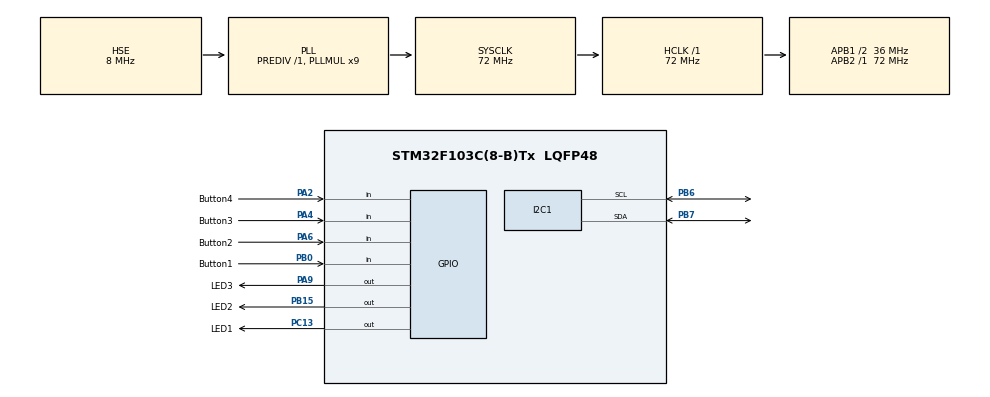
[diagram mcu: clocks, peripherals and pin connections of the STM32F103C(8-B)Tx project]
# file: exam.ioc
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Mcu.Family=STM32F1
Mcu.Name=STM32F103C(8-B)Tx
Mcu.Package=LQFP48
NVIC.PriorityGroup=NVIC_PRIORITYGROUP_4
PA13.Mode=Serial_Wire
PA13.Signal=SYS_JTMS-SWDIO
PA14.Mode=Serial_Wire
PA14.Signal=SYS_JTCK-SWCLK
PA2.GPIO_Label=Button4
PA2.GPIO_PuPd=GPIO_PULLUP
PA2.Signal=GPIO_Input
PA4.GPIO_Label=Button3
PA4.GPIO_PuPd=GPIO_PULLUP
PA4.Signal=GPIO_Input
PA6.GPIO_Label=Button2
PA6.GPIO_PuPd=GPIO_PULLUP
PA6.Signal=GPIO_Input
PA9.GPIO_Label=LED3
PA9.PinState=GPIO_PIN_SET
PA9.Signal=GPIO_Output
PB0.GPIO_Label=Button1
PB0.GPIO_PuPd=GPIO_PULLUP
PB0.Signal=GPIO_Input
PB15.GPIO_Label=LED2
PB15.PinState=GPIO_PIN_SET
PB15.Signal=GPIO_Output
PB6.Mode=I2C
PB6.Signal=I2C1_SCL
PB7.Mode=I2C
PB7.Signal=I2C1_SDA
PC13-TAMPER-RTC.GPIO_Label=LED1
PC13-TAMPER-RTC.GPIO_ModeDefaultOutputPP=GPIO_MODE_OUTPUT_PP
PC13-TAMPER-RTC.PinState=GPIO_PIN_SET
PC13-TAMPER-RTC.Signal=GPIO_Output
PC14-OSC32_IN.Mode=LSE-External-Oscillator
PC14-OSC32_IN.Signal=RCC_OSC32_IN
PC15-OSC32_OUT.Mode=LSE-External-Oscillator
PC15-OSC32_OUT.Signal=RCC_OSC32_OUT
PD0-OSC_IN.Mode=HSE-External-Oscillator
PD0-OSC_IN.Signal=RCC_OSC_IN
PD1-OSC_OUT.Mode=HSE-External-Oscillator
PD1-OSC_OUT.Signal=RCC_OSC_OUT
ProjectManager.HeapSize=0x200
ProjectManager.StackSize=0x400
ProjectManager.TargetToolchain=CMake
RCC.AHBFreq_Value=72000000
RCC.APB1CLKDivider=RCC_HCLK_DIV2
RCC.APB1Freq_Value=36000000
RCC.APB1TimFreq_Value=72000000
RCC.APB2Freq_Value=72000000
RCC.APB2TimFreq_Value=72000000
RCC.HCLKFreq_Value=72000000
RCC.PLLMUL=RCC_PLL_MUL9
RCC.PLLSourceVirtual=RCC_PLLSOURCE_HSE
RCC.SYSCLKFreq_VALUE=72000000
RCC.SYSCLKSource=RCC_SYSCLKSOURCE_PLLCLK
RCC.USBFreq_Value=72000000
board=custom

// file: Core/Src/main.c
/* USER CODE BEGIN Header */
/**
  ******************************************************************************
  * @file           : main.c
  * @brief          : Main program body
  ******************************************************************************
  * @attention
  *
  * Copyright (c) 2026 STMicroelectronics.
  * All rights reserved.
  *
  * This software is licensed under terms that can be found in the LICENSE file
  * in the root directory of this software component.
  * If no LICENSE file comes with this software, it is provided AS-IS.
  *
  ******************************************************************************
  */
/* USER CODE END Header */
#include "main.h"
#include "i2c.h"
#include "gpio.h"

/* USER CODE BEGIN Includes */
#include "OLED.h"
#include "Button.h"
#include "LED.h"
/* USER CODE END Includes */

/* USER CODE BEGIN PV */
GPIO_PinState Button1State, Button2State, Button3State, Button4State;
uint32_t Count = 0;
uint8_t LightTime = 1;
GPIO_PinState LED1State, LED2State, LED3State;
uint32_t StartTime = 0;
/* USER CODE END PV */

void SystemClock_Config(void);

int main(void)
{

  /* MCU Configuration--------------------------------------------------------*/

  /* Reset of all peripherals, Initializes the Flash interface and the Systick. */
  HAL_Init();

  /* Configure the system clock */
  SystemClock_Config();

  /* Initialize all configured peripherals */
  MX_GPIO_Init();
  MX_I2C1_Init();
  /* USER CODE BEGIN 2 */

  //初始化LED灯状态
  LED1State = GPIO_PIN_SET;
  LED2State = GPIO_PIN_SET;
  LED3State = GPIO_PIN_SET;

  OLED_Init();
  OLED_Clear();

  OLED_ShowString(0, 0, "LED1:", 16, 0);
  OLED_ShowString(0, 2, "LED2:", 16, 0);
  OLED_ShowString(0, 4, "LED3:", 16, 0);
  OLED_ShowString(0, 6, "Time:", 16, 0);
  OLED_ShowString(48, 6, "s", 16, 0);

  /* USER CODE END 2 */

  /* Infinite loop */
  /* USER CODE BEGIN WHILE */
  while (1)
  {
    //读取按键状态
    Button1State = Read_Button(Button1_GPIO_Port, Button1_Pin);
    Button2State = Read_Button(Button2_GPIO_Port, Button2_Pin);
    Button3State = Read_Button(Button3_GPIO_Port, Button3_Pin);
    Button4State = Read_Button(Button4_GPIO_Port, Button4_Pin);

    //根据按键状态控制LED灯
    if(Button1State == 1)
    {
      LED1State = LED_On(LED1_GPIO_Port, LED1_Pin);
      StartTime = HAL_GetTick();
    }
    if(Button2State == 1)
    {
      LED2State = LED_Toggle(LED2_GPIO_Port, LED2_Pin, LED2State);
    }
    if(Button3State == 1)
    {
      LED3State = LED_Toggle(LED3_GPIO_Port, LED3_Pin, LED3State);
    }

    //按键4改变点亮时间
    if(Button4State == 1)
    {
      Count++;
      LightTime = Count % 3 + 1;
    }

    if(LED1State == GPIO_PIN_RESET)
    {
      LED1State = LED_Off(LED1_GPIO_Port, LED1_Pin, LightTime, StartTime);
    }

    //显示LED灯状态和计数值
    OLED_ShowString(40, 0, LED1State == GPIO_PIN_RESET ? " ON" : "OFF", 16, 0);
    OLED_ShowString(40, 2, LED2State == GPIO_PIN_RESET ? " ON" : "OFF", 16, 0);
    OLED_ShowString(40, 4, LED3State == GPIO_PIN_RESET ? " ON" : "OFF", 16, 0);
    OLED_ShowNum(40, 6, LightTime, 1, 16, 0);
    /* USER CODE END WHILE */

  }
}

void SystemClock_Config(void)
{
  RCC_OscInitTypeDef RCC_OscInitStruct = {0};
  RCC_ClkInitTypeDef RCC_ClkInitStruct = {0};

  /** Initializes the RCC Oscillators according to the specified parameters
  * in the RCC_OscInitTypeDef structure.
  */
  RCC_OscInitStruct.OscillatorType = RCC_OSCILLATORTYPE_HSE;
  RCC_OscInitStruct.HSEState = RCC_HSE_ON;
  RCC_OscInitStruct.HSEPredivValue = RCC_HSE_PREDIV_DIV1;
  RCC_OscInitStruct.HSIState = RCC_HSI_ON;
  RCC_OscInitStruct.PLL.PLLState = RCC_PLL_ON;
  RCC_OscInitStruct.PLL.PLLSource = RCC_PLLSOURCE_HSE;
  RCC_OscInitStruct.PLL.PLLMUL = RCC_PLL_MUL9;
  if (HAL_RCC_OscConfig(&RCC_OscInitStruct) != HAL_OK)
  {
    Error_Handler();
  }

  /** Initializes the CPU, AHB and APB buses clocks
  */
  RCC_ClkInitStruct.ClockType = RCC_CLOCKTYPE_HCLK|RCC_CLOCKTYPE_SYSCLK
                              |RCC_CLOCKTYPE_PCLK1|RCC_CLOCKTYPE_PCLK2;
  RCC_ClkInitStruct.SYSCLKSource = RCC_SYSCLKSOURCE_PLLCLK;
  RCC_ClkInitStruct.AHBCLKDivider = RCC_SYSCLK_DIV1;
  RCC_ClkInitStruct.APB1CLKDivider = RCC_HCLK_DIV2;
  RCC_ClkInitStruct.APB2CLKDivider = RCC_HCLK_DIV1;

  if (HAL_RCC_ClockConfig(&RCC_ClkInitStruct, FLASH_LATENCY_2) != HAL_OK)
  {
    Error_Handler();
  }
}

void Error_Handler(void)
{
  __disable_irq();
  while (1)
  {
  }
}
